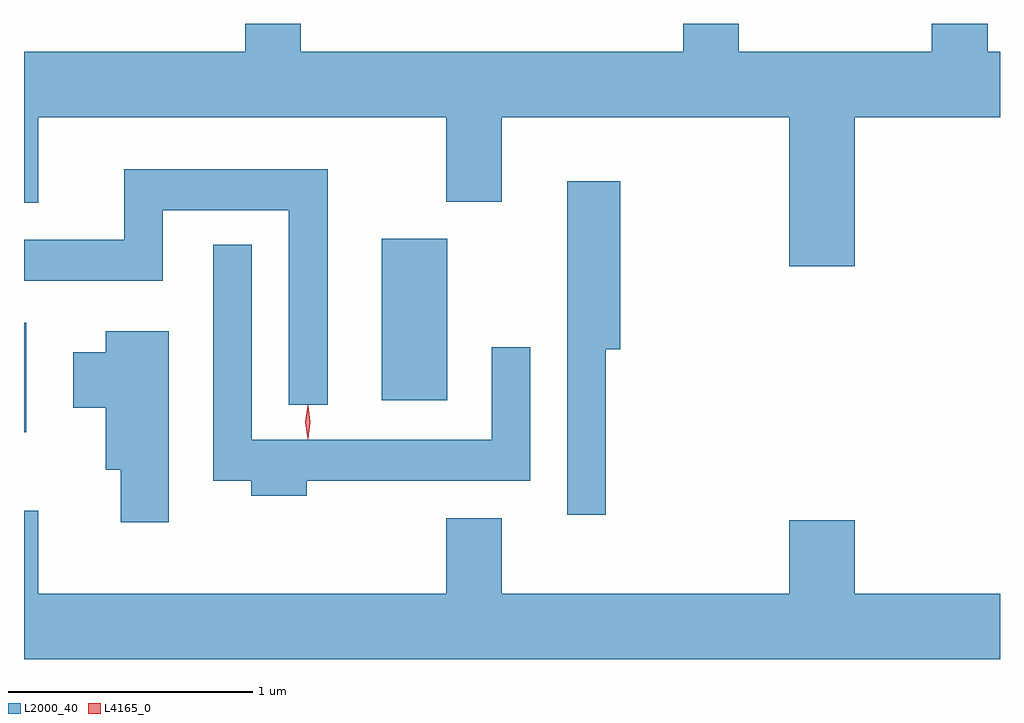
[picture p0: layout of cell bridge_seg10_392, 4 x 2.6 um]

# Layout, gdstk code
import gdstk
lib = gdstk.Library(unit=1e-6, precision=1e-09)
def R(c, l, rs):  # rectangles x0, y0, x1, y1
    for r in rs: c.add(gdstk.rectangle(r[:2], r[2:], *l))
def P(c, l, *ps):  # polygons
    for p in ps: c.add(gdstk.Polygon(p, *l))
L2000_40 = (2000, 40)
L4165_0 = (4165, 0)

bridge_seg10_392 = lib.new_cell('bridge_seg10_392')
R(bridge_seg10_392, L2000_40, [(1370.78,2130.386,1370.789,2130.834), (1372.246,2130.516,1372.514,2131.179)])
P(bridge_seg10_392, L2000_40, [(1374.184,2131.676),(1374.78,2131.676),(1374.78,2131.944),(1374.729,2131.944),(1374.729,2132.059),(1374.501,2132.059),(1374.501,2131.944),(1373.709,2131.944),(1373.709,2132.059),(1373.481,2132.059),(1373.481,2131.944),(1371.914,2131.944),(1371.914,2132.059),(1371.686,2132.059),(1371.686,2131.944),(1370.78,2131.944),(1370.78,2131.326),(1370.839,2131.326),(1370.839,2131.676),(1372.511,2131.676),(1372.511,2131.331),(1372.739,2131.331),(1372.739,2131.676),(1373.916,2131.676),(1373.916,2131.066),(1374.184,2131.066)],
  [(1372.024,2131.464),(1371.191,2131.464),(1371.191,2131.174),(1370.78,2131.174),(1370.78,2131.006),(1371.349,2131.006),(1371.349,2131.296),(1371.866,2131.296),(1371.866,2130.498),(1372.024,2130.498)],
  [(1373.164,2130.726),(1373.224,2130.726),(1373.224,2131.414),(1373.006,2131.414),(1373.006,2130.048),(1373.164,2130.048)],
  [(1371.939,2130.186),(1372.854,2130.186),(1372.854,2130.733),(1372.696,2130.733),(1372.696,2130.354),(1371.714,2130.354),(1371.714,2131.153),(1371.556,2131.153),(1371.556,2130.186),(1371.711,2130.186),(1371.711,2130.126),(1371.939,2130.126)],
  [(1371.374,2130.799),(1371.116,2130.799),(1371.116,2130.714),(1370.981,2130.714),(1370.981,2130.486),(1371.116,2130.486),(1371.116,2130.231),(1371.176,2130.231),(1371.176,2130.016),(1371.374,2130.016)],
  [(1374.78,2129.724),(1374.184,2129.724),(1374.184,2130.024),(1373.916,2130.024),(1373.916,2129.724),(1372.739,2129.724),(1372.739,2130.034),(1372.511,2130.034),(1372.511,2129.724),(1370.839,2129.724),(1370.839,2130.064),(1370.78,2130.064),(1370.78,2129.456),(1374.78,2129.456)])
P(bridge_seg10_392, L4165_0, [(1371.944,2130.36),(1371.944,2130.36),(1371.935,2130.426),(1371.944,2130.492),(1371.945,2130.493),(1371.945,2130.492),(1371.954,2130.426),(1371.945,2130.36)],
  [(1371.943,2130.357),(1371.942,2130.358),(1371.933,2130.427),(1371.942,2130.496),(1371.943,2130.496),(1371.944,2130.496),(1371.953,2130.427),(1371.944,2130.358)])

lib.write_gds('bridge_seg10_392.gds')
